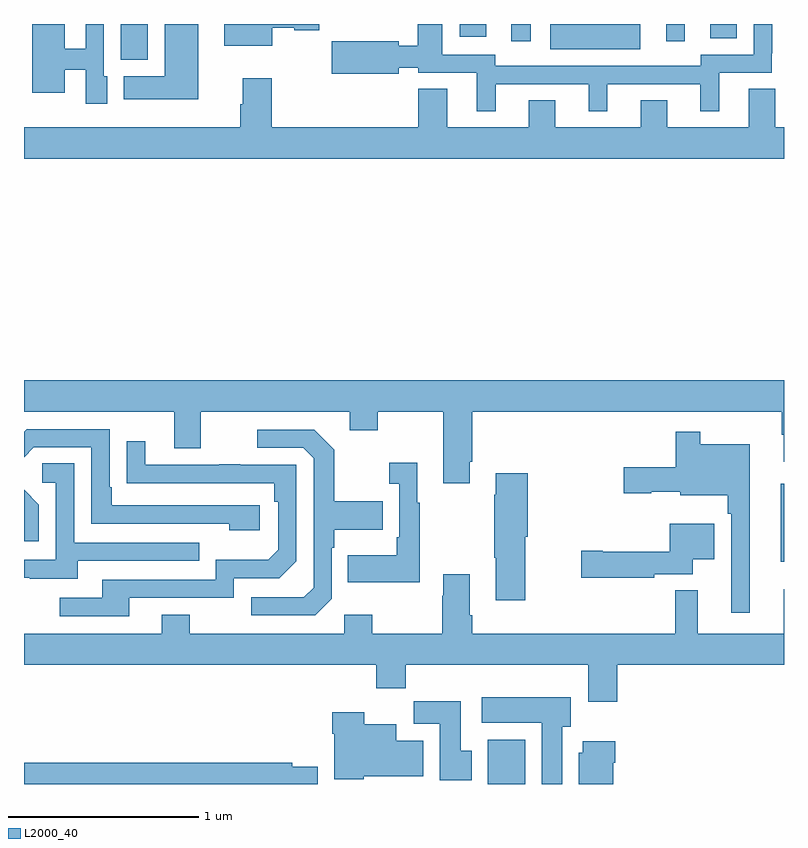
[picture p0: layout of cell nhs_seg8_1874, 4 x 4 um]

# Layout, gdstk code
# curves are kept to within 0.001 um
import gdstk
lib = gdstk.Library(unit=1e-6, precision=1e-09)
def R(c, l, rs):  # rectangles x0, y0, x1, y1
    for r in rs: c.add(gdstk.rectangle(r[:2], r[2:], *l))
def P(c, l, *ps):  # polygons
    for p in ps: c.add(gdstk.Polygon(p, *l))
L2000_40 = (2000, 40)

nhs_seg8_1874 = lib.new_cell('nhs_seg8_1874')
R(nhs_seg8_1874, L2000_40, [(233.441,1087.9,233.638,1088.134), (234.983,1089.071,235,1089.481), (231.509,1091.711,231.652,1091.9), (233.769,1091.768,234.244,1091.899), (233.564,1091.808,233.668,1091.9), (234.38,1091.808,234.478,1091.9), (234.611,1091.826,234.751,1091.9), (233.294,1091.832,233.434,1091.9)])
P(nhs_seg8_1874, L2000_40, [(231.916,1091.9),(231.74,1091.9),(231.74,1091.626),(231.524,1091.626),(231.524,1091.504),(231.916,1091.504)],
  [(232.306,1091.879),(232.422,1091.879),(232.422,1091.867),(232.555,1091.867),(232.555,1091.9),(232.055,1091.9),(232.055,1091.786),(232.306,1091.786)],
  [(233.482,1091.583),(233.972,1091.583),(233.972,1091.442),(234.07,1091.442),(234.07,1091.583),(234.56,1091.583),(234.56,1091.442),(234.658,1091.442),(234.658,1091.643),(234.936,1091.643),(234.936,1091.746),(234.937,1091.746),(234.937,1091.9),(234.84,1091.9),(234.84,1091.739),(234.561,1091.739),(234.561,1091.679),(233.481,1091.679),(233.481,1091.739),(233.202,1091.739),(233.202,1091.9),(233.072,1091.9),(233.072,1091.786),(232.972,1091.786),(232.972,1091.81),(232.62,1091.81),(232.62,1091.639),(232.972,1091.639),(232.972,1091.67),(233.076,1091.67),(233.076,1091.643),(233.384,1091.643),(233.384,1091.442),(233.482,1091.442)],
  [(231.439,1091.625),(231.42,1091.625),(231.42,1091.9),(231.324,1091.9),(231.324,1091.769),(231.214,1091.769),(231.214,1091.899),(231.044,1091.899),(231.044,1091.538),(231.214,1091.538),(231.214,1091.658),(231.324,1091.658),(231.324,1091.481),(231.439,1091.481)],
  [(235,1091.356),(234.955,1091.356),(234.955,1091.558),(234.815,1091.558),(234.815,1091.356),(234.385,1091.356),(234.385,1091.498),(234.245,1091.498),(234.245,1091.356),(233.797,1091.356),(233.797,1091.498),(233.657,1091.498),(233.657,1091.356),(233.227,1091.356),(233.227,1091.558),(233.075,1091.558),(233.075,1091.356),(232.304,1091.356),(232.304,1091.614),(232.151,1091.614),(232.151,1091.477),(232.139,1091.477),(232.139,1091.356),(231,1091.356),(231,1091.192),(235,1091.192)],
  [(233.347,1089.595),(233.36,1089.595),(233.36,1089.86),(234.987,1089.86),(234.987,1089.737),(234.998,1089.737),(234.998,1089.597),(235,1089.597),(235,1090.024),(231,1090.024),(231,1089.86),(231.791,1089.86),(231.791,1089.666),(231.931,1089.666),(231.931,1089.86),(232.715,1089.86),(232.715,1089.761),(232.863,1089.761),(232.863,1089.86),(233.207,1089.86),(233.207,1089.483),(233.347,1089.483)],
  [(232.24,1089.366),(231.463,1089.366),(231.463,1089.463),(231.45,1089.463),(231.45,1089.768),(231.015,1089.768),(231,1089.753),(231,1089.621),(231.051,1089.672),(231.354,1089.672),(231.354,1089.27),(232.079,1089.27),(232.079,1089.236),(232.24,1089.236)],
  [(232.62,1088.874),(232.62,1089.143),(232.633,1089.143),(232.633,1089.239),(232.889,1089.239),(232.889,1089.387),(232.633,1089.387),(232.633,1089.659),(232.527,1089.765),(232.227,1089.765),(232.227,1089.669),(232.47,1089.669),(232.524,1089.615),(232.524,1088.934),(232.473,1088.883),(232.197,1088.883),(232.197,1088.787),(232.533,1088.787)],
  [(234.82,1089.688),(234.559,1089.688),(234.559,1089.754),(234.43,1089.754),(234.43,1089.567),(234.156,1089.567),(234.156,1089.43),(234.302,1089.43),(234.302,1089.437),(234.453,1089.437),(234.453,1089.419),(234.703,1089.419),(234.703,1089.323),(234.723,1089.323),(234.723,1088.802),(234.82,1088.802)],
  [(231.553,1088.88),(232.104,1088.88),(232.104,1088.982),(232.344,1088.982),(232.434,1089.072),(232.434,1089.579),(232.139,1089.579),(232.139,1089.584),(232.027,1089.584),(232.027,1089.579),(231.637,1089.579),(231.637,1089.703),(231.541,1089.703),(231.541,1089.484),(232.318,1089.483),(232.318,1089.386),(232.338,1089.386),(232.338,1089.132),(232.285,1089.079),(232.008,1089.079),(232.008,1088.976),(231.413,1088.976),(231.413,1088.88),(231.189,1088.88),(231.189,1088.784),(231.553,1088.784)],
  [(233.083,1089.379),(233.071,1089.379),(233.071,1089.592),(232.923,1089.592),(232.923,1089.479),(232.974,1089.479),(232.974,1089.199),(232.962,1089.199),(232.962,1089.103),(232.705,1089.103),(232.705,1088.963),(233.083,1088.963)],
  [(231.283,1089.075),(231.923,1089.075),(231.923,1089.171),(231.264,1089.171),(231.264,1089.587),(231.096,1089.587),(231.096,1089.486),(231.168,1089.486),(231.168,1089.081),(231,1089.081),(231,1088.985),(231.029,1088.985),(231.029,1088.981),(231.283,1088.981)],
  [(233.638,1089.201),(233.651,1089.201),(233.651,1089.535),(233.483,1089.535),(233.483,1089.422),(233.476,1089.422),(233.476,1089.091),(233.483,1089.091),(233.483,1088.868),(233.638,1088.868)],
  [(231.078,1089.37),(231,1089.448),(231,1089.177),(231.078,1089.177)],
  [(234.318,1089.005),(234.52,1089.005),(234.52,1089.083),(234.634,1089.083),(234.634,1089.271),(234.398,1089.271),(234.398,1089.123),(234.046,1089.123),(234.046,1089.128),(233.934,1089.128),(233.934,1088.986),(234.318,1088.986)],
  [(234.122,1088.528),(235,1088.528),(235,1088.926),(234.998,1088.926),(234.998,1088.692),(234.545,1088.692),(234.545,1088.92),(234.427,1088.92),(234.427,1088.692),(233.36,1088.692),(233.36,1088.788),(233.347,1088.788),(233.347,1089.004),(233.207,1089.004),(233.207,1088.891),(233.2,1088.891),(233.2,1088.692),(232.833,1088.692),(232.833,1088.791),(232.686,1088.791),(232.686,1088.692),(231.873,1088.692),(231.873,1088.791),(231.725,1088.791),(231.725,1088.692),(231,1088.692),(231,1088.528),(232.853,1088.528),(232.853,1088.404),(233.009,1088.404),(233.009,1088.528),(233.969,1088.528),(233.969,1088.334),(234.122,1088.334)],
  [(233.833,1088.202),(233.878,1088.202),(233.878,1088.356),(233.409,1088.356),(233.409,1088.222),(233.726,1088.222),(233.726,1087.9),(233.833,1087.9)],
  [(233.356,1088.076),(233.299,1088.076),(233.299,1088.335),(233.05,1088.335),(233.05,1088.216),(233.189,1088.216),(233.189,1087.92),(233.356,1087.92)],
  [(232.788,1087.94),(233.101,1087.94),(233.101,1088.128),(232.96,1088.128),(232.96,1088.215),(232.792,1088.215),(232.792,1088.278),(232.622,1088.278),(232.622,1088.165),(232.634,1088.165),(232.634,1087.925),(232.788,1087.925)],
  [(234.1,1088.012),(234.113,1088.012),(234.113,1088.125),(233.942,1088.125),(233.942,1088.064),(233.921,1088.064),(233.921,1087.9),(234.1,1087.9)],
  [(232.546,1087.992),(232.412,1087.992),(232.412,1088.012),(231,1088.012),(231,1087.9),(232.546,1087.9)])

lib.write_gds('nhs_seg8_1874.gds')
